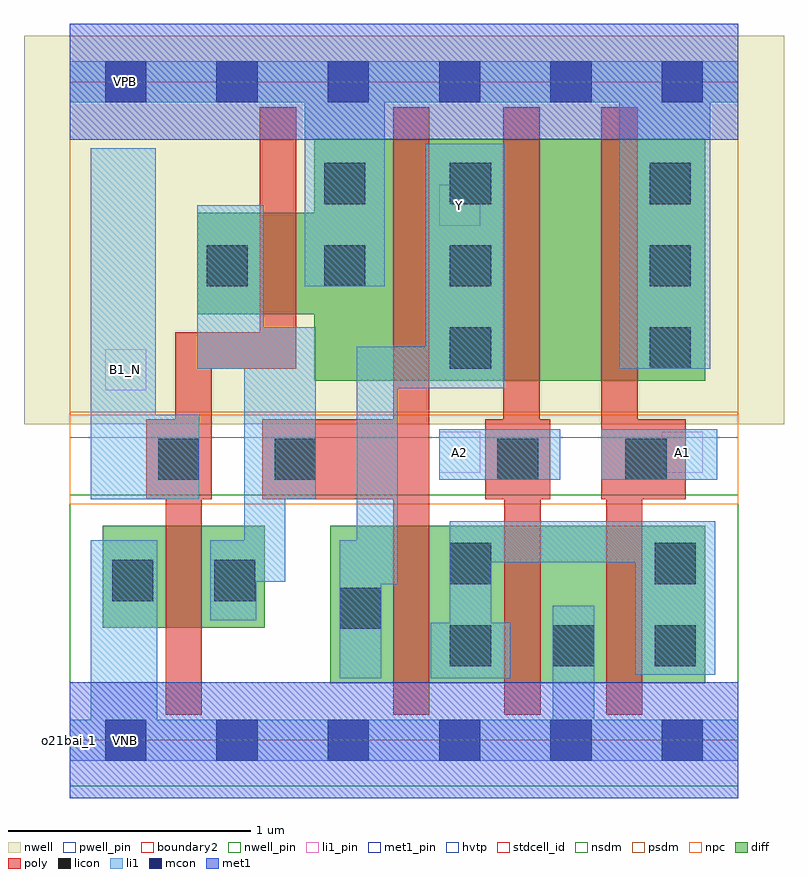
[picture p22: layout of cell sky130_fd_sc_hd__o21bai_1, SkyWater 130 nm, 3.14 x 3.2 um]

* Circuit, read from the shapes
.subckt sky130_fd_sc_hd__o21bai_1 A1 A2 B1_N VGND VNB VPB VPWR Y
XM1 n1 B1_N VGND VNB sky130_fd_pr__nfet_01v8 w=0.42 l=0.15
XM2 n2 n1 Y VNB sky130_fd_pr__nfet_01v8 w=0.65 l=0.15
XM3 VGND A2 n2 VNB sky130_fd_pr__nfet_01v8 w=0.65 l=0.15
XM4 n2 A1 VGND VNB sky130_fd_pr__nfet_01v8 w=0.65 l=0.15
XM5 VPWR B1_N n1 VPB sky130_fd_pr__pfet_01v8_hvt w=0.42 l=0.15
XM6 Y n1 VPWR VPB sky130_fd_pr__pfet_01v8_hvt w=1 l=0.15
XM7 n3 A2 Y VPB sky130_fd_pr__pfet_01v8_hvt w=1 l=0.15
XM8 VPWR A1 n3 VPB sky130_fd_pr__pfet_01v8_hvt w=1 l=0.15
.ends

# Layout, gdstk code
import gdstk
lib = gdstk.Library(unit=1e-6, precision=1e-09)
def R(c, l, rs):  # rectangles x0, y0, x1, y1
    for r in rs: c.add(gdstk.rectangle(r[:2], r[2:], *l))
def A(c, l, x, y, w, h, nx, ny, dx, dy):  # array of equal rectangles
    R(c, l, [(x+i*dx, y+j*dy, x+i*dx+w, y+j*dy+h) for i in range(nx) for j in range(ny)])
def P(c, l, *ps):  # polygons
    for p in ps: c.add(gdstk.Polygon(p, *l))
nwell_pin = (64, 16)
nwell = (64, 20)
diff = (65, 20)
poly = (66, 20)
licon = (66, 44)
li1_pin = (67, 16)
li1 = (67, 20)
mcon = (67, 44)
met1_pin = (68, 16)
met1 = (68, 20)
hvtp = (78, 44)
stdcell_id = (81, 4)
nsdm = (93, 44)
psdm = (94, 20)
npc = (95, 20)
pwell_pin = (122, 16)
boundary2 = (236, 0)

sky130_fd_sc_hd__o21bai_ = lib.new_cell('sky130_fd_sc_hd__o21bai_1')
R(sky130_fd_sc_hd__o21bai_, nwell_pin, [(0.145,2.635,0.315,2.805)])
R(sky130_fd_sc_hd__o21bai_, nwell, [(-0.19,1.305,2.95,2.91)])
R(sky130_fd_sc_hd__o21bai_, diff, [(1.075,0.235,2.625,0.885), (0.135,0.465,0.805,0.885)])
P(sky130_fd_sc_hd__o21bai_, diff, [(2.625,2.485),(1.01,2.485),(1.01,2.18),(0.525,2.18),(0.525,1.76),(1.01,1.76),(1.01,1.485),(2.625,1.485)])
R(sky130_fd_sc_hd__o21bai_, poly, [(1.335,0.105,1.485,0.995), (1.795,0.105,1.945,0.995), (2.215,0.105,2.365,0.995), (1.715,0.995,1.985,1.325), (2.195,0.995,2.545,1.325), (1.79,1.325,1.94,2.615), (2.195,1.325,2.345,2.615)])
P(sky130_fd_sc_hd__o21bai_, poly, [(0.935,2.615),(0.785,2.615),(0.785,1.685),(0.435,1.685),(0.435,1.325),(0.315,1.325),(0.315,0.995),(0.395,0.995),(0.395,0.105),(0.545,0.105),(0.545,0.995),(0.585,0.995),(0.585,1.535),(0.935,1.535)],
  [(1.485,2.615),(1.335,2.615),(1.335,1.325),(0.795,1.325),(0.795,0.995),(1.485,0.995)])
A(sky130_fd_sc_hd__o21bai_, licon, 1.57, 1.535, 0.17, 0.17, 1, 3, 0, 0.34)
A(sky130_fd_sc_hd__o21bai_, licon, 2.395, 1.535, 0.17, 0.17, 1, 3, 0, 0.34)
R(sky130_fd_sc_hd__o21bai_, licon, [(1.57,0.305,1.74,0.475), (1.995,0.305,2.165,0.475), (2.415,0.305,2.585,0.475), (1.115,0.46,1.285,0.63), (0.175,0.575,0.345,0.745), (0.595,0.575,0.765,0.745), (1.57,0.645,1.74,0.815), (2.415,0.645,2.585,0.815), (0.365,1.075,0.535,1.245), (0.845,1.075,1.015,1.245), (1.765,1.075,1.935,1.245), (2.295,1.075,2.465,1.245), (0.565,1.875,0.735,2.045), (1.05,1.875,1.22,2.045), (1.05,2.215,1.22,2.385)])
R(sky130_fd_sc_hd__o21bai_, li1_pin, [(1.525,1.105,1.695,1.275), (2.445,1.105,2.615,1.275), (0.145,1.445,0.315,1.615), (1.525,2.125,1.695,2.295)])
R(sky130_fd_sc_hd__o21bai_, li1, [(1.525,1.075,2.025,1.285), (2.195,1.075,2.675,1.285)])
P(sky130_fd_sc_hd__o21bai_, li1, [(2.76,0.085),(2.165,0.085),(2.165,0.555),(1.995,0.555),(1.995,0.085),(0.36,0.085),(0.36,0.825),(0.085,0.825),(0.085,0.085),(0,0.085),(0,-0.085),(2.76,-0.085)],
  [(2.76,2.805),(0,2.805),(0,2.635),(0.97,2.635),(0.97,1.875),(1.3,1.875),(1.3,2.635),(2.27,2.635),(2.27,1.535),(2.645,1.535),(2.645,2.635),(2.76,2.635)],
  [(2.665,0.905),(1.57,0.905),(1.57,0.485),(1.49,0.485),(1.49,0.255),(1.82,0.255),(1.82,0.485),(1.74,0.485),(1.74,0.735),(2.335,0.735),(2.335,0.27),(2.665,0.27)],
  [(1.795,2.465),(1.47,2.465),(1.47,1.625),(1.185,1.625),(1.185,0.825),(1.115,0.825),(1.115,0.255),(1.285,0.255),(1.285,0.645),(1.355,0.645),(1.355,1.455),(1.795,1.455)],
  [(1.015,1.705),(0.8,1.705),(0.8,2.21),(0.525,2.21),(0.525,1.535),(0.72,1.535),(0.72,0.825),(0.58,0.825),(0.58,0.495),(0.77,0.495),(0.77,0.655),(0.89,0.655),(0.89,0.995),(1.015,0.995)],
  [(0.535,1.345),(0.355,1.345),(0.355,2.445),(0.085,2.445),(0.085,0.995),(0.535,0.995)])
A(sky130_fd_sc_hd__o21bai_, mcon, 0.145, -0.085, 0.17, 0.17, 6, 2, 0.46, 2.72)
R(sky130_fd_sc_hd__o21bai_, met1_pin, [(0.145,-0.085,0.315,0.085), (0.145,2.635,0.315,2.805)])
R(sky130_fd_sc_hd__o21bai_, hvtp, [(0,1.25,2.76,2.72)])
R(sky130_fd_sc_hd__o21bai_, stdcell_id, [(0,0,2.76,2.72)])
R(sky130_fd_sc_hd__o21bai_, nsdm, [(0,-0.19,2.76,1.015)])
R(sky130_fd_sc_hd__o21bai_, psdm, [(0,1.355,2.76,2.91)])
R(sky130_fd_sc_hd__o21bai_, npc, [(0,0.975,2.76,1.345)])
R(sky130_fd_sc_hd__o21bai_, pwell_pin, [(0.145,-0.085,0.315,0.085)])
R(sky130_fd_sc_hd__o21bai_, boundary2, [(0,0,2.76,2.72)])
sky130_fd_sc_hd__o21bai_.add(gdstk.FlexPath([(0,2.72),(2.76,2.72)], 0.48, ends="flush", simple_path=True, layer=68, datatype=20))  # met1
sky130_fd_sc_hd__o21bai_.add(gdstk.FlexPath([(0,0),(2.76,0)], 0.48, ends="flush", simple_path=True, layer=68, datatype=20))  # met1
sky130_fd_sc_hd__o21bai_.add(gdstk.Label('A1', (2.53,1.19), layer=67, texttype=5))
sky130_fd_sc_hd__o21bai_.add(gdstk.Label('Y', (1.61,2.21), layer=67, texttype=5))
sky130_fd_sc_hd__o21bai_.add(gdstk.Label('B1_N', (0.23,1.53), layer=67, texttype=5))
sky130_fd_sc_hd__o21bai_.add(gdstk.Label('A2', (1.61,1.19), layer=67, texttype=5))
sky130_fd_sc_hd__o21bai_.add(gdstk.Label('VPB', (0.23,2.72), layer=64, texttype=5))
sky130_fd_sc_hd__o21bai_.add(gdstk.Label('VNB', (0.23,0), layer=64, texttype=59))
sky130_fd_sc_hd__o21bai_.add(gdstk.Label('VPWR', (0.23,2.72), layer=68, texttype=5))
sky130_fd_sc_hd__o21bai_.add(gdstk.Label('VGND', (0.23,0), layer=68, texttype=5))
sky130_fd_sc_hd__o21bai_.add(gdstk.Label('o21bai_1', (0,0), layer=83, texttype=44))

lib.write_gds('sky130_fd_sc_hd__o21bai_1.gds')
